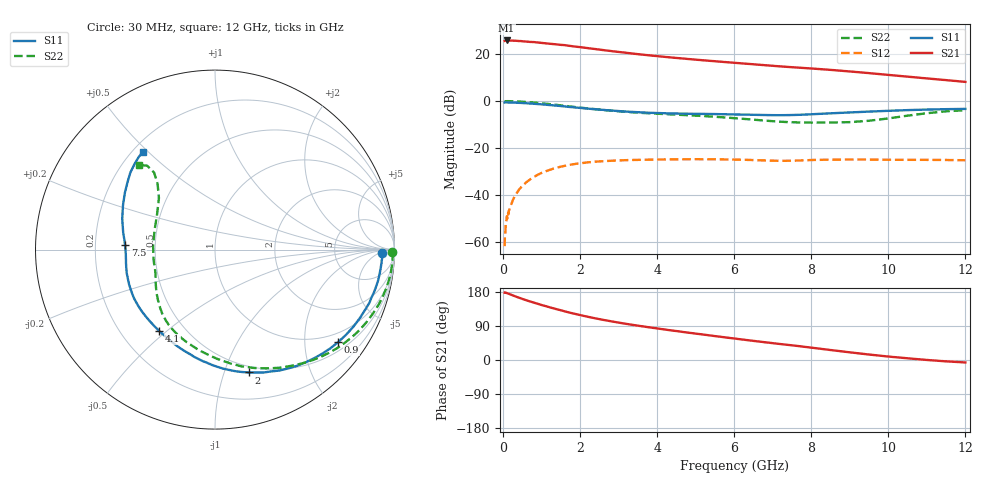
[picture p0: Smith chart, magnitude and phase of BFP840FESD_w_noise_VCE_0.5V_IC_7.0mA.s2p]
! Infineon Technologies  Discrete & RF Semiconductors
! BFP840FESD
! VCE =  0.5 V,  IC =  7.0 mA
! Common Emitter S-Parameters:  May 2012
# GHz  S  MA  R  50
!  f  S11  S21  S12  S22
! GHz  MAG  ANG  MAG  ANG  MAG  ANG  MAG  ANG
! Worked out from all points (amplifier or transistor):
!   103 points, 30 MHz to 12 GHz, reference 50 ohm
!   highest |S21| = 25.8 dB at 80 MHz (marker M1)
!   |S21| within 3 dB of that: start of sweep to 2.066 GHz
!   unconditionally stable (mu >= 1): 6.808 GHz to end of sweep
!   at 400 MHz: K = 0.05, MSG = 31.7 dB, |S12| = -37.9 dB
!   at 3.7 GHz: K = 0.45, MSG = 22.3 dB, |S12| = -25.1 dB
!   at 12 GHz: K = 1.33, MAG = 13.3 dB, |S12| = -25.3 dB
!   lowest NFmin = 0.59 dB at 450 MHz
!   S11 on the Smith chart (normalised r, x): 30 MHz: 25, -8; 900 MHz: 0.72, -2.83; 2 GHz: 0.44, -1.21; 4.1 GHz: 0.36, -0.47; 7.5 GHz: 0.33, +0.02; 12 GHz: 0.24, +0.48
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0.03  0.93 -1.3  19.09 177.5  0.0008 78.8  0.9861 -0.8
0.04  0.931 -1.8  19.21 177.2  0.0014 76.3  0.988 -1.1
0.05  0.9308 -2.2  19.39 178.2  0.0016 86.0  0.9895 -1.5
0.08  0.9315 -3.5  19.52 177.0  0.003 89.3  0.9899 -2.7
0.3  0.921 -12.9  19.26 168.3  0.0095 81.6  0.9814 -11.1
0.5  0.9028 -21.3  18.73 160.9  0.0157 76.1  0.9626 -18.4
0.9  0.8582 -36.9  17.64 148.0  0.0269 65.6  0.9069 -32.3
1.2  0.8184 -47.9  16.63 139.1  0.0339 58.2  0.8565 -42.2
1.6  0.7631 -62.0  15.49 128.2  0.0415 49.2  0.7858 -54.8
2  0.7101 -74.6  14.03 118.4  0.047 41.6  0.7206 -66.6
2.1  0.6979 -77.7  13.71 116.1  0.048 39.9  0.7062 -69.4
2.6  0.6442 -91.2  12.14 105.7  0.052 32.4  0.6425 -81.9
3.1  0.599 -103.4  10.87 96.8  0.0543 26.6  0.5926 -92.5
3.6  0.5697 -114.2  9.756 89.0  0.0556 22.1  0.5562 -101.8
4.1  0.5499 -124.4  8.868 81.8  0.0565 18.5  0.5296 -109.9
5  0.5321 -141.4  7.594 69.5  0.0573 13.3  0.4864 -123.0
6.1  0.5137 -159.8  6.424 55.4  0.056 8.3  0.4234 -138.8
7.5  0.5015 177.3  5.245 38.6  0.0532 8.8  0.3518 -161.7
8.5  0.5451 161.5  4.601 26.3  0.0561 8.0  0.3459 175.8
9.5  0.5936 147.8  3.923 14.4  0.0562 6.0  0.3787 148.4
10.5  0.6382 137.6  3.3 4.5  0.0555 5.8  0.4866 131.1
12  0.677 126.2  2.552 -6.5  0.0544 7.9  0.6356 132.1
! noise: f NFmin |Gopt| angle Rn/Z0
0.45  0.59  0.44  5  0.15
0.9  0.62  0.42  12  0.16
1.5  0.64  0.38  18  0.15
1.9  0.65  0.34  26  0.15
2.4  0.67  0.32  33  0.15
3.5  0.68  0.31  55  0.15
5.5  0.75  0.21  94  0.12
8  0.89  0.18  153  0.11
10  1.04  0.24  -145  0.11
12  1.25  0.41  -120  0.13
